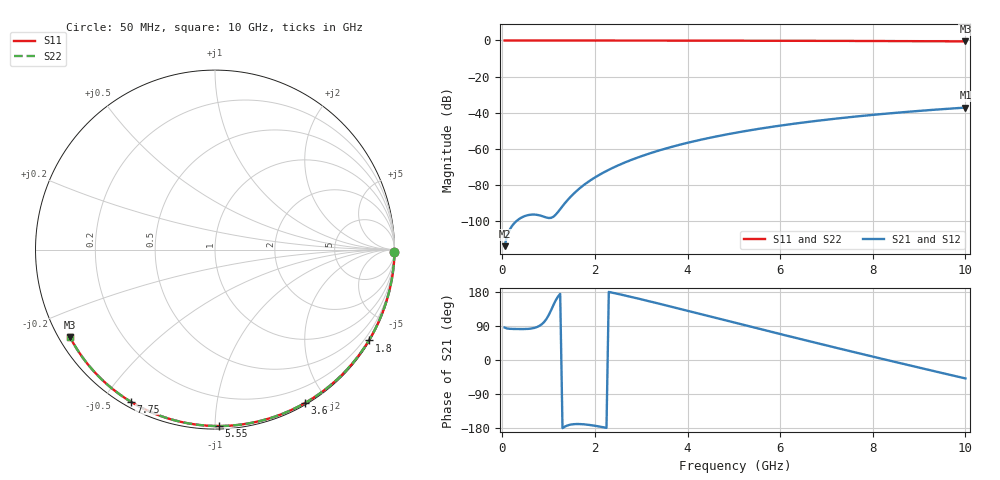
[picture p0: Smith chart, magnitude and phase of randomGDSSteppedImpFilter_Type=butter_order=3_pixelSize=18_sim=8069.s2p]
! freq	dB(S11)	phase(S11)	dB(S12)	phase(S12)
!  dB(S21)	phase(S21)	dB(S22)	phase(S22)
!S-par simulation data
#  GHz  S  DB  R 50
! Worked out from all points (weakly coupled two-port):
!   200 points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, 50 MHz to 10 GHz, reference 50 ohm
!   highest |S21| = -37.20 dB at 10 GHz (marker M1); lowest = -114.0 dB at 50 MHz (marker M2)
!   lowest |S11| = -0.5 dB at 10 GHz (marker M3), VSWR 34.53, Z = 1.56 - j13.9 ohm
!   |S11| at or under -10 dB: nowhere
!   |S22| runs from -0.5 to 0.0 dB; largest |S21 - S12| = 0
!   S11 on the Smith chart (normalised r, x): 50 MHz: open; 1.8 GHz: 0.03, -3.66; 3.6 GHz: 0.02, -1.75; 5.55 GHz: 0.02, -1.02; 7.75 GHz: 0.02, -0.59; 10 GHz: 0.03, -0.28
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0.05  -0.00 -0.9  -113.99 85.6  -113.99 85.6  -0.00 -0.9
0.45  -0.01 -7.8  -97.69 81.6  -97.69 81.6  -0.01 -7.8
0.9  -0.02 -15.4  -97.67 99.8  -97.67 99.8  -0.02 -15.4
1.3  -0.03 -22.2  -91.83 -179.8  -91.83 -179.8  -0.03 -22.2
1.75  -0.04 -29.7  -80.31 -169.6  -80.31 -169.6  -0.04 -29.7
1.8  -0.04 -30.6  -79.34 -170.2  -79.34 -170.2  -0.04 -30.6
1.95  -0.04 -33.1  -76.72 -172.6  -76.72 -172.6  -0.04 -33.1
2.1  -0.05 -35.5  -74.40 -175.6  -74.40 -175.6  -0.05 -35.5
2.3  -0.05 -38.8  -71.66 179.6  -71.66 179.6  -0.05 -38.8
2.5  -0.05 -42.1  -69.23 174.4  -69.23 174.4  -0.05 -42.1
2.9  -0.06 -48.5  -65.08 163.1  -65.08 163.1  -0.06 -48.5
3.4  -0.08 -56.5  -60.84 148.2  -60.84 148.2  -0.08 -56.5
3.6  -0.08 -59.6  -59.37 142.2  -59.37 142.2  -0.08 -59.6
4.3  -0.10 -70.3  -54.93 120.7  -54.93 120.7  -0.10 -70.3
5.05  -0.13 -81.5  -51.09 97.6  -51.09 97.6  -0.13 -81.5
5.55  -0.15 -88.7  -48.93 82.3  -48.93 82.3  -0.15 -88.7
6.1  -0.17 -96.5  -46.83 65.5  -46.83 65.5  -0.17 -96.5
6.7  -0.20 -104.9  -44.82 47.4  -44.82 47.4  -0.20 -104.9
7.75  -0.28 -119.0  -41.86 16.2  -41.86 16.2  -0.28 -119.0
8.35  -0.33 -127.0  -40.42 -1.3  -40.42 -1.3  -0.33 -127.0
9.2  -0.41 -138.2  -38.63 -25.8  -38.63 -25.8  -0.41 -138.2
10  -0.50 -148.8  -37.20 -48.6  -37.20 -48.6  -0.50 -148.8
